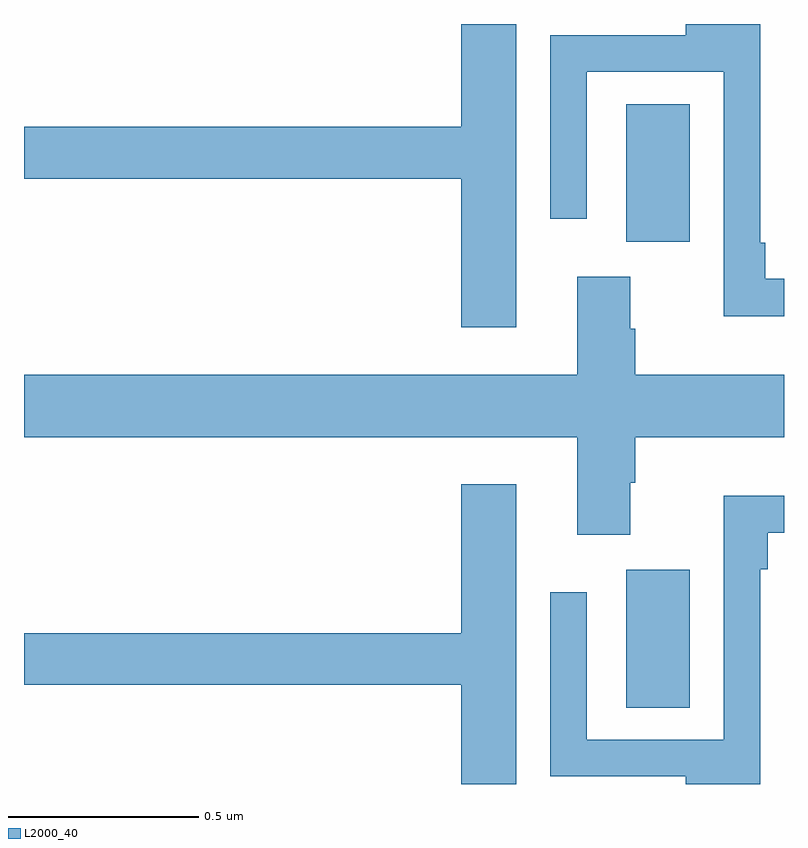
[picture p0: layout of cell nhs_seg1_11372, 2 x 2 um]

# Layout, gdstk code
import gdstk
lib = gdstk.Library(unit=1e-6, precision=1e-09)
def R(c, l, rs):  # rectangles x0, y0, x1, y1
    for r in rs: c.add(gdstk.rectangle(r[:2], r[2:], *l))
def P(c, l, *ps):  # polygons
    for p in ps: c.add(gdstk.Polygon(p, *l))
L2000_40 = (2000, 40)

nhs_seg1_11372 = lib.new_cell('nhs_seg1_11372')
R(nhs_seg1_11372, L2000_40, [(254.585,504.4,254.752,504.763), (254.585,505.626,254.752,505.988)])
P(nhs_seg1_11372, L2000_40, [(254.296,506.199),(254.15,506.199),(254.15,505.928),(253,505.928),(253,505.792),(254.15,505.792),(254.15,505.401),(254.296,505.401)],
  [(255,505.528),(254.95,505.528),(254.95,505.624),(254.937,505.624),(254.937,506.199),(254.741,506.199),(254.741,506.169),(254.385,506.169),(254.385,505.686),(254.481,505.686),(254.481,506.073),(254.841,506.073),(254.841,505.43),(255,505.43)],
  [(254.596,504.992),(254.609,504.992),(254.609,505.112),(255,505.112),(255,505.276),(254.609,505.276),(254.609,505.397),(254.596,505.397),(254.596,505.534),(254.456,505.534),(254.456,505.276),(253,505.276),(253,505.112),(254.456,505.112),(254.456,504.855),(254.596,504.855)],
  [(254.296,504.988),(254.15,504.988),(254.15,504.596),(253,504.596),(253,504.46),(254.15,504.46),(254.15,504.199),(254.296,504.199)],
  [(254.937,504.764),(254.957,504.764),(254.957,504.86),(255,504.86),(255,504.958),(254.841,504.958),(254.841,504.315),(254.481,504.315),(254.481,504.703),(254.385,504.703),(254.385,504.219),(254.741,504.219),(254.741,504.199),(254.937,504.199)])

lib.write_gds('nhs_seg1_11372.gds')
